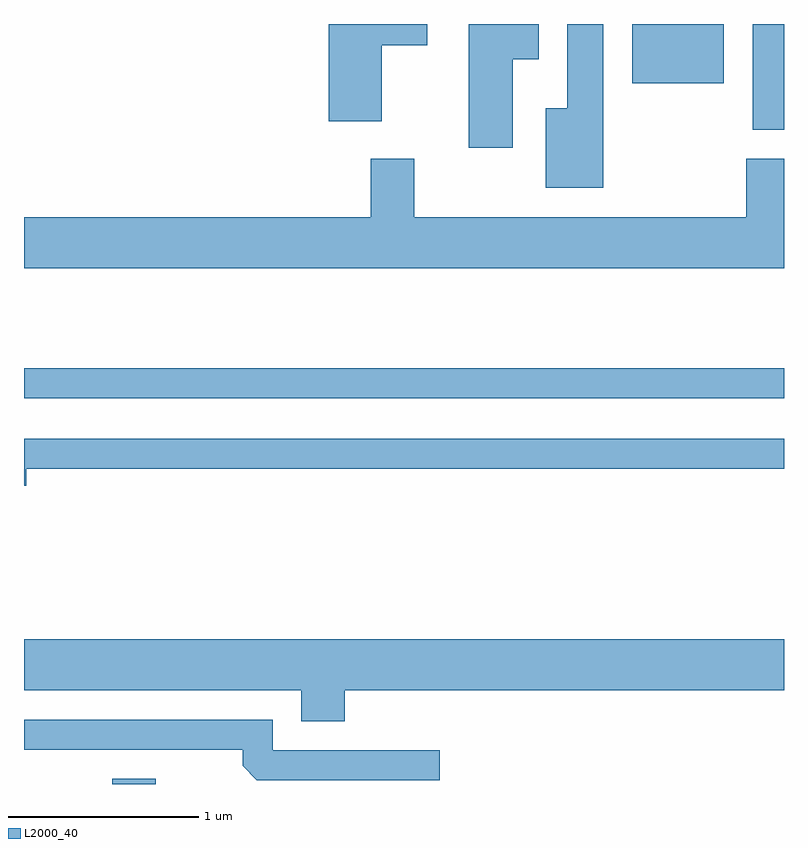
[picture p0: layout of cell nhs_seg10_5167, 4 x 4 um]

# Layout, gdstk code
import gdstk
lib = gdstk.Library(unit=1e-6, precision=1e-09)
def R(c, l, rs):  # rectangles x0, y0, x1, y1
    for r in rs: c.add(gdstk.rectangle(r[:2], r[2:], *l))
def P(c, l, *ps):  # polygons
    for p in ps: c.add(gdstk.Polygon(p, *l))
L2000_40 = (2000, 40)

nhs_seg10_5167 = lib.new_cell('nhs_seg10_5167')
R(nhs_seg10_5167, L2000_40, [(338.076,2124.522,338.304,2124.549), (337.611,2126.551,341.611,2126.709), (341.446,2127.966,341.611,2128.522), (340.811,2128.211,341.294,2128.522)])
P(nhs_seg10_5167, L2000_40, [(340.184,2128.336),(340.319,2128.336),(340.319,2128.522),(339.951,2128.522),(339.951,2127.871),(340.184,2127.871)],
  [(340.659,2128.522),(340.471,2128.522),(340.471,2128.079),(340.356,2128.079),(340.356,2127.661),(340.659,2127.661)],
  [(339.494,2128.411),(339.734,2128.411),(339.734,2128.522),(339.216,2128.522),(339.216,2128.011),(339.494,2128.011)],
  [(341.611,2127.814),(341.411,2127.814),(341.411,2127.504),(339.664,2127.504),(339.664,2127.814),(339.436,2127.814),(339.436,2127.504),(337.611,2127.504),(337.611,2127.236),(341.611,2127.236)],
  [(337.624,2126.181),(341.611,2126.181),(341.611,2126.339),(337.611,2126.339),(337.611,2126.091),(337.624,2126.091)],
  [(337.611,2125.016),(339.071,2125.016),(339.071,2124.851),(339.299,2124.851),(339.299,2125.016),(341.611,2125.016),(341.611,2125.284),(337.611,2125.284)],
  [(339.798,2124.699),(338.919,2124.699),(338.919,2124.859),(337.611,2124.859),(337.611,2124.701),(338.761,2124.701),(338.761,2124.617),(338.837,2124.541),(339.798,2124.541)])

lib.write_gds('nhs_seg10_5167.gds')
